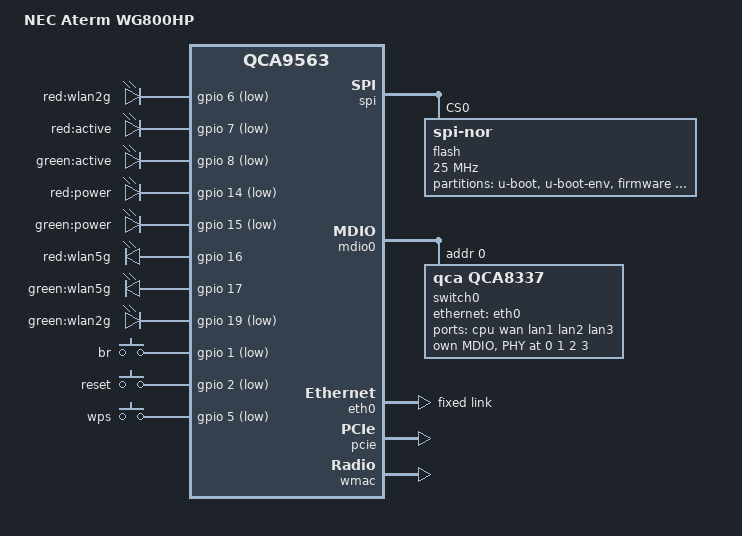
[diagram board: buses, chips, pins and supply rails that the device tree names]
// SPDX-License-Identifier: GPL-2.0-or-later OR MIT

#include "qca956x.dtsi"

#include <dt-bindings/gpio/gpio.h>
#include <dt-bindings/input/input.h>

/ {
	model = "NEC Aterm WG800HP";
	compatible = "nec,wg800hp", "qca,qca9563";

	aliases {
		led-boot = &led_power_green;
		led-failsafe = &led_power_red;
		led-running = &led_power_green;
		led-upgrade = &led_power_green;
	};

	leds {
		compatible = "gpio-leds";
		pinctrl-names = "default";
		pinctrl-0 = <&jtag_disable_pins>;

		wlan2g_red {
			label = "red:wlan2g";
			gpios = <&gpio 6 GPIO_ACTIVE_LOW>;
		};

		active_red {
			label = "red:active";
			gpios = <&gpio 7 GPIO_ACTIVE_LOW>;
		};

		active_green {
			label = "green:active";
			gpios = <&gpio 8 GPIO_ACTIVE_LOW>;
		};

		led_power_red: power_red {
			label = "red:power";
			gpios = <&gpio 14 GPIO_ACTIVE_LOW>;
		};

		led_power_green: power_green {
			label = "green:power";
			gpios = <&gpio 15 GPIO_ACTIVE_LOW>;
			default-state = "on";
		};

		wlan5g_red {
			label = "red:wlan5g";
			gpios = <&gpio 16 GPIO_ACTIVE_HIGH>;
		};

		wlan5g_green {
			label = "green:wlan5g";
			gpios = <&gpio 17 GPIO_ACTIVE_HIGH>;
			linux,default-trigger = "phy0tpt";
		};

		wlan2g_green {
			label = "green:wlan2g";
			gpios = <&gpio 19 GPIO_ACTIVE_LOW>;
			linux,default-trigger = "phy1tpt";
		};
	};

	keys {
		compatible = "gpio-keys";

		br {
			label = "br";
			gpios = <&gpio 1 GPIO_ACTIVE_LOW>;
			linux,code = <BTN_0>;
			linux,input-type = <EV_SW>;
			debounce-interval = <60>;
		};

		reset {
			label = "reset";
			gpios = <&gpio 2 GPIO_ACTIVE_LOW>;
			linux,code = <KEY_RESTART>;
			debounce-interval = <60>;
		};

		wps {
			label = "wps";
			gpios = <&gpio 5 GPIO_ACTIVE_LOW>;
			linux,code = <KEY_WPS_BUTTON>;
			debounce-interval = <60>;
		};
	};
};

&spi {
	status = "okay";

	flash@0 {
		compatible = "jedec,spi-nor";
		reg = <0>;
		spi-max-frequency = <25000000>;

		partitions {
			compatible = "fixed-partitions";
			#address-cells = <1>;
			#size-cells = <1>;

			partition@0 {
				label = "u-boot";
				reg = <0x000000 0x040000>;
				read-only;
			};

			partition@40000 {
				label = "u-boot-env";
				reg = <0x040000 0x010000>;
				read-only;
			};

			partition@50000 {
				compatible = "denx,uimage";
				label = "firmware";
				reg = <0x050000 0x6f0000>;
			};

			partition@740000 {
				label = "user_data";
				reg = <0x740000 0x0a0000>;
				read-only;
			};

			partition@7e0000 {
				label = "board_data";
				reg = <0x7e0000 0x010000>;
				read-only;
			};

			art: partition@7f0000 {
				label = "art";
				reg = <0x7f0000 0x010000>;
				read-only;
			};
		};
	};
};

&mdio0 {
	status = "okay";

	switch0@10 {
		compatible = "qca,qca8337";
		#address-cells = <1>;		
		#size-cells = <0>;

		reg = <0>;

		ports {
			#address-cells = <1>;
			#size-cells = <0>;

			port@0 {
				reg = <0>;
				label = "cpu";
				ethernet = <&eth0>;
				phy-mode = "sgmii";

				fixed-link {
					speed = <1000>;
					full-duplex;
				};
			};

			port@1 {
				reg = <1>;
				label = "wan";
				phy-mode = "internal";
				phy-handle = <&phy_port1>;
			};

			port@2 {
				reg = <2>;
				label = "lan1";
				phy-mode = "internal";
				phy-handle = <&phy_port2>;
			};

			port@3 {
				reg = <3>;
				label = "lan2";
				phy-mode = "internal";
				phy-handle = <&phy_port3>;
			};

			port@4 {
				reg = <4>;
				label = "lan3";
				phy-mode = "internal";
				phy-handle = <&phy_port4>;
			};
		};

		mdio {
			#address-cells = <1>;
			#size-cells = <0>;

			phy_port1: phy@0 {
				reg = <0>;
			};

			phy_port2: phy@1 {
				reg = <1>;
			};

			phy_port3: phy@2 {
				reg = <2>;
			};

			phy_port4: phy@3 {
				reg = <3>;
			};
		};
	};
};

&eth0 {
	status = "okay";

	fixed-link {
		speed = <1000>;
		full-duplex;
	};
};

&pcie {
	status = "okay";
};

&wmac {
	status = "okay";
	qca,no-eeprom;
};
